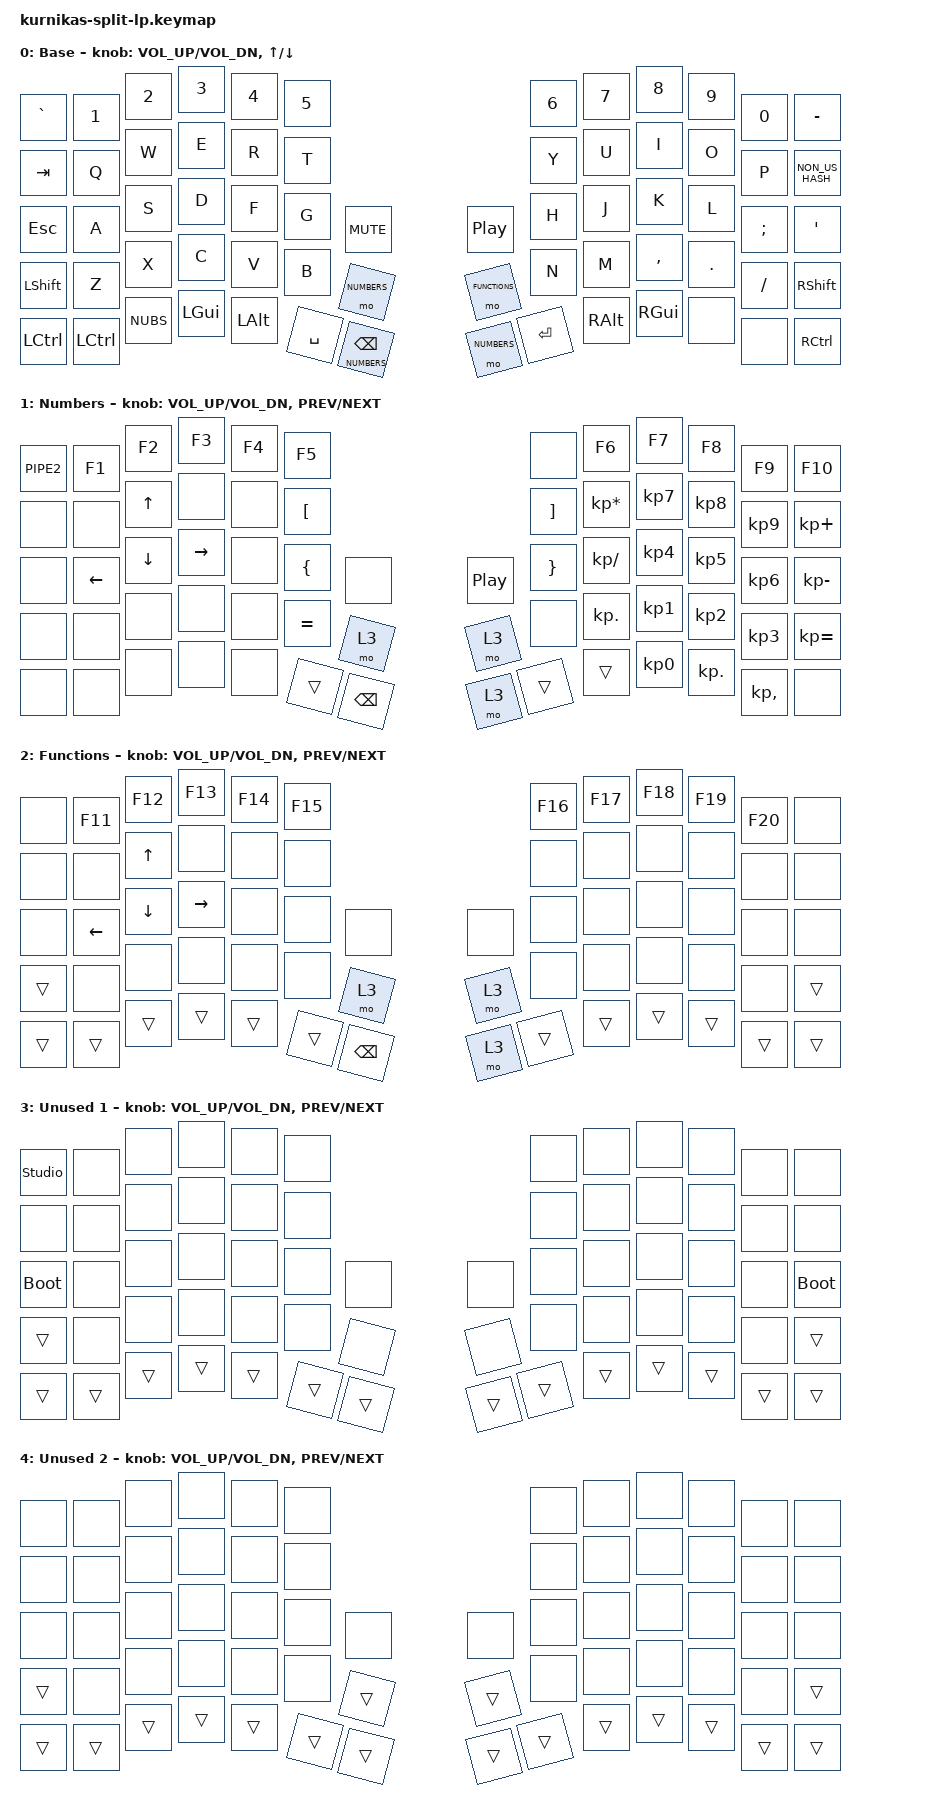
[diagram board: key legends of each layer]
#include <behaviors.dtsi>
#include <dt-bindings/zmk/keys.h>
#define BASE 0
#define NUMBERS 1
#define FUNCTIONS 2

/ {
    keymap {
        compatible = "zmk,keymap";

        default_layer { // Layer 0
            display-name = "Base";
            bindings = <
                &kp GRAVE   &kp N1    &kp N2    &kp N3      &kp N4      &kp N5                                              &kp N6        &kp N7     &kp N8      &kp N9    &kp N0         &kp MINUS
                &kp TAB     &kp Q     &kp W     &kp E       &kp R       &kp T                                               &kp Y         &kp U      &kp I       &kp O     &kp P          &kp NON_US_HASH
                &kp ESC     &kp A     &kp S     &kp D       &kp F       &kp G        &kp C_MUTE               &kp C_PP      &kp H         &kp J      &kp K       &kp L     &kp SEMICOLON  &kp SINGLE_QUOTE
                &kp LSHIFT  &kp Z     &kp X     &kp C       &kp V       &kp B        &mo NUMBERS              &mo FUNCTIONS &kp N         &kp M      &kp COMMA   &kp DOT   &kp SLASH      &kp RSHIFT     
                &kp LCTRL   &kp LCTRL &kp NUBS  &kp LGUI    &kp LALT    &kp SPACE    &lt NUMBERS BACKSPACE    &mo NUMBERS   &kp ENTER     &kp RALT   &kp RGUI    &none     &none          &kp RCTRL
            >;
            sensor-bindings = <&inc_dec_kp C_VOL_UP C_VOL_DN &inc_dec_kp UP DOWN>;
        };
        numbers { // Layer 1
            display-name = "Numbers";
            bindings = <
                &kp PIPE2 &kp F1    &kp F2    &kp F3      &kp F4      &kp F5                                  &none     &kp F6           &kp F7     &kp F8      &kp F9        &kp F10
                &none     &none     &kp UP    &none       &none       &kp LBKT                                &kp RBKT  &kp KP_ASTERISK  &kp KP_N7  &kp KP_N8   &kp KP_N9     &kp KP_PLUS
                &none     &kp LEFT  &kp DOWN  &kp RIGHT   &none       &kp LBRC     &none            &kp C_PP  &kp RBRC  &kp KP_SLASH     &kp KP_N4  &kp KP_N5   &kp KP_N6     &kp KP_MINUS
                &none     &none     &none     &none       &none       &kp EQUAL    &mo 3            &mo 3     &none     &kp KP_DOT       &kp KP_N1  &kp KP_N2   &kp KP_N3     &kp KP_EQUAL
                &none     &none     &none     &none       &none       &trans       &kp BACKSPACE    &mo 3     &trans    &trans           &kp KP_N0  &kp KP_DOT  &kp KP_COMMA  &none
            >;
            sensor-bindings = <&inc_dec_kp C_VOL_UP C_VOL_DN &inc_dec_kp C_PREV C_NEXT>;
        };
        functions { // Layer 2
            display-name = "Functions";
            bindings = <
                &none     &kp F11   &kp F12   &kp F13     &kp F14     &kp F15                                 &kp F16   &kp F17   &kp F18     &kp F19      &kp F20        &none 
                &none     &none     &kp UP    &none       &none       &none                                   &none     &none     &none       &none        &none          &none 
                &none     &kp LEFT  &kp DOWN  &kp RIGHT   &none       &none        &none            &none     &none     &none     &none       &none        &none          &none 
                &trans    &none     &none     &none       &none       &none        &mo 3            &mo 3     &none     &none     &none       &none        &none          &trans
                &trans    &trans    &trans    &trans      &trans      &trans       &kp BACKSPACE    &mo 3     &trans    &trans    &trans      &trans       &trans         &trans
            >;
            sensor-bindings = <&inc_dec_kp C_VOL_UP C_VOL_DN &inc_dec_kp C_PREV C_NEXT>;
        };
        layer_3 { // Layer 3
            display-name = "Unused 1";
            bindings = <
                &studio_unlock   &none    &none    &none      &none      &none                                &none    &none    &none      &none       &none         &none
                &none            &none    &none    &none      &none      &none                                &none    &none    &none      &none       &none         &none
                &bootloader      &none    &none    &none      &none      &none       &none           &none    &none    &none    &none      &none       &none         &bootloader
                &trans           &none    &none    &none      &none      &none       &none           &none    &none    &none    &none      &none       &none         &trans
                &trans           &trans   &trans   &trans     &trans     &trans      &trans          &trans   &trans   &trans   &trans     &trans      &trans        &trans
            >;
            sensor-bindings = <&inc_dec_kp C_VOL_UP C_VOL_DN &inc_dec_kp C_PREV C_NEXT>;
        };
        layer_4 { // Layer 4
            display-name = "Unused 2";
            bindings = <
                &none    &none    &none    &none      &none      &none                                &none    &none    &none      &none       &none         &none
                &none    &none    &none    &none      &none      &none                                &none    &none    &none      &none       &none         &none
                &none    &none    &none    &none      &none      &none       &none           &none    &none    &none    &none      &none       &none         &none
                &trans   &none    &none    &none      &none      &none       &trans          &trans   &none    &none    &none      &none       &none         &trans
                &trans   &trans   &trans   &trans     &trans     &trans      &trans          &trans   &trans   &trans   &trans     &trans      &trans        &trans
            >;
            sensor-bindings = <&inc_dec_kp C_VOL_UP C_VOL_DN &inc_dec_kp C_PREV C_NEXT>;
        };
    };
 };

